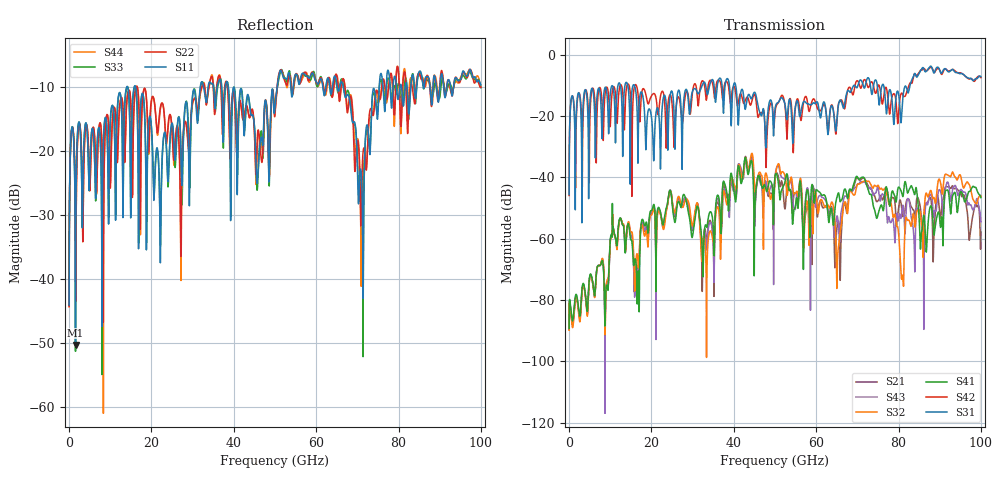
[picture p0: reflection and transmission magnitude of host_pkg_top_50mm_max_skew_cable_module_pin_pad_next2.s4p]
# Hz S RI R 50
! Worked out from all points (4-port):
!   10000 points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, 10 MHz to 100 GHz, reference 50 ohm
!   strongest paths, dB at 10 MHz, 25.01 GHz, 50.01 GHz, 75.01 GHz, 100 GHz:
!     S31: -45.6, -12.0, -17.7, -12.1, -7.1
!     S42: -45.9, -16.0, -18.9, -10.1, -7.5
!     S41: -89.3, -48.1, -39.7, -52.1, -46.6
!     S32: -89.9, -47.2, -40.6, -42.6, -46.2
!     S43: -89.6, -47.1, -40.0, -43.3, -54.5
!     S21: -89.6, -47.8, -40.0, -47.7, -57.8
!   lowest |S11| = -50.4 dB at 1.56 GHz (marker M1), VSWR 1.01, Z = 50.3 + j0.0665 ohm
!   |S11| at or under -10 dB: start of sweep to 14.05 GHz; 16.12 GHz to 31.87 GHz (15.75 GHz wide, 65.6 % of centre); 38.63 GHz to 50.55 GHz (11.91 GHz wide, 26.7 % of centre)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
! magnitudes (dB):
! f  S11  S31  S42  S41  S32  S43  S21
! 10 MHz  -44.1  -45.6  -45.9  -89.3  -89.9  -89.6  -89.6
! 1.56 GHz  -50.4  -32.3  -42.5  -78.6  -79.8  -79.3  -79.2
! 42.9 GHz  -13.5  -17.2  -14.5  -33.8  -33.7  -34.5  -33.2
! 65.23 GHz  -10.5  -18.3  -18.1  -45.6  -65.5  -53.2  -55.0
! 76.5 GHz  -12.9  -10.7  -12.7  -49.0  -43.8  -45.8  -45.9
! 80.85 GHz  -10.9  -17.6  -12.6  -45.5  -72.7  -50.6  -51.0
! 100 GHz  -9.7  -7.1  -7.5  -46.6  -46.2  -54.5  -57.8
